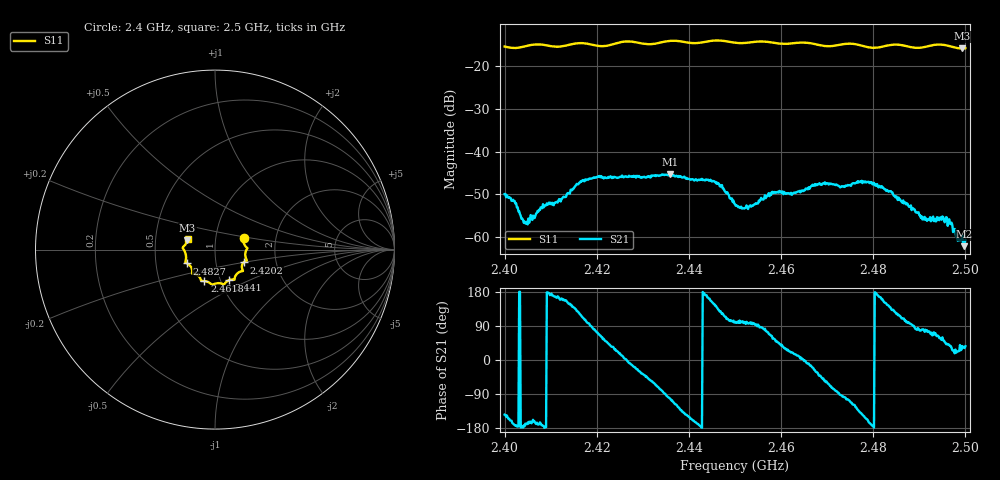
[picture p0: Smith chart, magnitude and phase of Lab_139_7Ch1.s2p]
# Hz S RI R 50
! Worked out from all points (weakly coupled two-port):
!   601 points, 2.4 GHz to 2.5 GHz, reference 50 ohm
!   highest |S21| = -45.30 dB at 2.4358 GHz (marker M1); lowest = -62.2 dB at 2.4997 GHz (marker M2)
!   lowest |S11| = -15.8 dB at 2.4993 GHz (marker M3), VSWR 1.39, Z = 36.5 + j3.81 ohm
!   |S11| at or under -10 dB: start of sweep to end of sweep
!   S12 and S22 are empty: the file has one direction only
!   S11 on the Smith chart (normalised r, x): 2.4 GHz: 1.36, +0.18; 2.4202 GHz: 1.36, -0.20; 2.441 GHz: 1.10, -0.39; 2.4618 GHz: 0.84, -0.30; 2.4827 GHz: 0.72, -0.11; 2.5 GHz: 0.73, +0.09
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2.4e9  0.1589 0.0626  -0.00258 -0.00186  0 0  0 0
2.402167e9  0.1601 0.0373  -0.00261 -0.000382  0 0  0 0
2.404833e9  0.1734 0.0149  -0.00148 -0.000276  0 0  0 0
2.416667e9  0.1774 -0.0609  -0.00196 0.00399  0 0  0 0
2.420167e9  0.159 -0.0716  0.00154 0.00484  0 0  0 0
2.433333e9  0.1118 -0.1507  0.00165 -0.00496  0 0  0 0
2.435833e9  0.1094 -0.1663  -0.00107 -0.00533  0 0  0 0
2.441e9  0.0789 -0.17  -0.00439 -0.00163  0 0  0 0
2.446e9  0.0497 -0.1951  -0.00321 0.00272  0 0  0 0
2.45e9  0.0287 -0.1875  -0.000382 0.00239  0 0  0 0
2.452333e9  0.00528 -0.1885  -0.000199 0.0022  0 0  0 0
2.458167e9  -0.0263 -0.1884  0.00187 0.00281  0 0  0 0
2.461833e9  -0.0589 -0.1755  0.00296 0.00122  0 0  0 0
2.466667e9  -0.0789 -0.1682  0.00379 -0.00124  0 0  0 0
2.478333e9  -0.128 -0.1126  -0.00398 -0.00202  0 0  0 0
2.482667e9  -0.1559 -0.077  -0.00315 0.00176  0 0  0 0
2.483333e9  -0.1602 -0.0749  -0.00272 0.00201  0 0  0 0
2.490833e9  -0.1668 -0.014  0.000261 0.00166  0 0  0 0
2.496333e9  -0.1732 0.0189  0.00117 0.00103  0 0  0 0
2.499333e9  -0.1542 0.0509  0.000836 0.000625  0 0  0 0
2.499667e9  -0.1531 0.0557  0.000647 0.000432  0 0  0 0
2.5e9  -0.1523 0.0604  0.000737 0.000543  0 0  0 0
